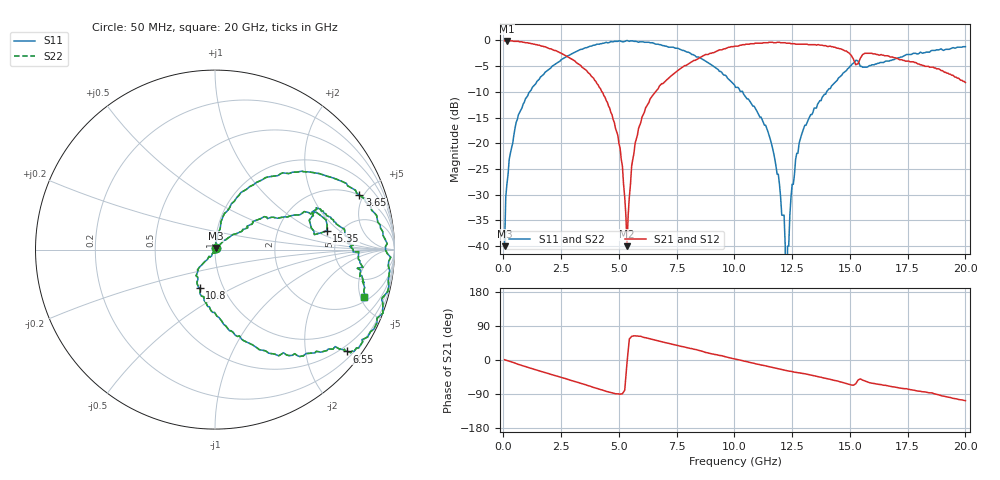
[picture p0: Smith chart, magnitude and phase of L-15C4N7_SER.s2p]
# MHZ S MA R 50
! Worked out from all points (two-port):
!   400 points, 50 MHz to 20 GHz, reference 50 ohm
!   highest |S21| = -0.09 dB at 150 MHz (marker M1); lowest = -40.0 dB at 5.35 GHz (marker M2)
!   |S21| within 3 dB of the highest: start of sweep to 2.746 GHz; 8.604 GHz to 15.08 GHz (6.477 GHz wide, 54.7 % of centre) (the widest 2 of 3)
!   lowest |S11| = -40.0 dB at 50 MHz (marker M3), VSWR 1.02, Z = 50.3 + j0.956 ohm
!   |S11| at or under -10 dB: start of sweep to 1.131 GHz; 10.36 GHz to 13.99 GHz (3.632 GHz wide, 29.8 % of centre)
!   |S22| runs from - to 0.0 dB; largest |S21 - S12| = 0
!   S11 on the Smith chart (normalised r, x): 50 MHz: 1.01, +0.02; 3.65 GHz: 2.01, +4.67; 6.55 GHz: 0.35, -2.90; 10.8 GHz: 0.77, -0.35; 15.35 GHz: 3.91, +1.35; 20 GHz: 2.43, -5.31
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50  0.01 71.8  0.99 0.7  0.99 0.7  0.01 71.8
150  0.04 83.2  0.99 -1.3  0.99 -1.3  0.04 83.2
950  0.27 70.4  0.95 -17.3  0.95 -17.3  0.27 70.4
3400  0.82 25.7  0.55 -62.6  0.55 -62.6  0.82 25.7
3650  0.86 20.6  0.49 -67.5  0.49 -67.5  0.86 20.6
4950  0.98 -10.0  0.12 -89.3  0.12 -89.3  0.98 -10.0
5350  1 -20.8  0.01 -6.7  0.01 -6.7  1 -20.8
5700  0.98 -28.8  0.1 63.7  0.1 63.7  0.98 -28.8
6550  0.93 -37.6  0.31 52.5  0.31 52.5  0.93 -37.6
6700  0.92 -37.9  0.34 50.5  0.34 50.5  0.92 -37.9
10050  0.35 -90.4  0.88 2.3  0.88 2.3  0.35 -90.4
10800  0.23 -111.7  0.93 -8.1  0.93 -8.1  0.23 -111.7
11550  0.11 -130.8  0.96 -18.5  0.96 -18.5  0.11 -130.8
12150  0.02 -94.6  0.95 -26.8  0.95 -26.8  0.02 -94.6
12200  0.01 -65.7  0.95 -27.5  0.95 -27.5  0.01 -65.7
12250  0 -36.8  0.94 -28.3  0.94 -28.3  0 -36.8
12300  0.01 -13.7  0.94 -28.8  0.94 -28.8  0.01 -13.7
12450  0.03 47.1  0.93 -30.0  0.93 -30.0  0.03 47.1
13350  0.19 36.0  0.91 -40.2  0.91 -40.2  0.19 36.0
15350  0.63 9.5  0.59 -53.1  0.59 -53.1  0.63 9.5
16700  0.63 20.0  0.7 -69.0  0.7 -69.0  0.63 20.0
20000  0.87 -17.8  0.39 -107.1  0.39 -107.1  0.87 -17.8
